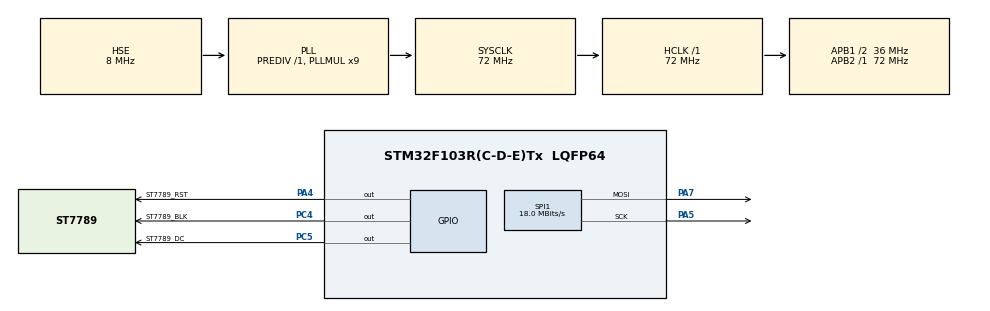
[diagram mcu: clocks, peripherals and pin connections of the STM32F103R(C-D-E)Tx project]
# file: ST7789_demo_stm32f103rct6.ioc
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Mcu.Family=STM32F1
Mcu.Name=STM32F103R(C-D-E)Tx
Mcu.Package=LQFP64
NVIC.PriorityGroup=NVIC_PRIORITYGROUP_4
PA13.Mode=Serial_Wire
PA13.Signal=SYS_JTMS-SWDIO
PA14.Mode=Serial_Wire
PA14.Signal=SYS_JTCK-SWCLK
PA4.GPIO_Label=ST7789_RST
PA4.GPIO_PuPd=GPIO_NOPULL
PA4.PinState=GPIO_PIN_SET
PA4.Signal=GPIO_Output
PA5.Mode=TX_Only_Simplex_Unidirect_Master
PA5.Signal=SPI1_SCK
PA7.Mode=TX_Only_Simplex_Unidirect_Master
PA7.Signal=SPI1_MOSI
PC4.GPIO_Label=ST7789_BLK
PC4.PinState=GPIO_PIN_SET
PC4.Signal=GPIO_Output
PC5.GPIO_Label=ST7789_DC
PC5.PinState=GPIO_PIN_SET
PC5.Signal=GPIO_Output
PD0-OSC_IN.Mode=HSE-External-Oscillator
PD0-OSC_IN.Signal=RCC_OSC_IN
PD1-OSC_OUT.Mode=HSE-External-Oscillator
PD1-OSC_OUT.Signal=RCC_OSC_OUT
ProjectManager.HeapSize=0x200
ProjectManager.StackSize=0x400
ProjectManager.TargetToolchain=MDK-ARM V5
RCC.AHBFreq_Value=72000000
RCC.APB1CLKDivider=RCC_HCLK_DIV2
RCC.APB1Freq_Value=36000000
RCC.APB1TimFreq_Value=72000000
RCC.APB2Freq_Value=72000000
RCC.APB2TimFreq_Value=72000000
RCC.HCLKFreq_Value=72000000
RCC.PLLMUL=RCC_PLL_MUL9
RCC.PLLSourceVirtual=RCC_PLLSOURCE_HSE
RCC.SYSCLKFreq_VALUE=72000000
RCC.SYSCLKSource=RCC_SYSCLKSOURCE_PLLCLK
RCC.USBFreq_Value=72000000
SPI1.BaudRatePrescaler=SPI_BAUDRATEPRESCALER_4
SPI1.CLKPhase=SPI_PHASE_1EDGE
SPI1.CLKPolarity=SPI_POLARITY_LOW
SPI1.CalculateBaudRate=18.0 MBits/s
SPI1.Direction=SPI_DIRECTION_2LINES
SPI1.Mode=SPI_MODE_MASTER
SPI1.VirtualType=VM_MASTER
board=custom

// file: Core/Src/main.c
/* USER CODE BEGIN Header */
/**
  ******************************************************************************
  * @file           : main.c
  * @brief          : Main program body
  ******************************************************************************
  * @attention
  *
  * <h2><center>&copy; Copyright (c) 2020 STMicroelectronics.
  * All rights reserved.</center></h2>
  *
  * This software component is licensed by ST under BSD 3-Clause license,
  * the "License"; You may not use this file except in compliance with the
  * License. You may obtain a copy of the License at:
  *                        opensource.org/licenses/BSD-3-Clause
  *
  ******************************************************************************
  */
/* USER CODE END Header */
#include "main.h"
#include "spi.h"
#include "gpio.h"

/* USER CODE BEGIN Includes */
#include "st7789.h"
#include "testimg.h"
#include "ugui.h"
/* USER CODE END Includes */

/* USER CODE BEGIN PV */
extern void uGUI_Test_Init(void);
extern void uGUI_Test_Poll(void);
/* USER CODE END PV */

void SystemClock_Config(void);

/* USER CODE BEGIN 0 */

void loop() {
    // Check border
    ST7789_Fill_Color(BLACK);

    for(int x = 0; x < ST7789_WIDTH; x++) {
        ST7789_DrawPixel(x, 0, RED);
        ST7789_DrawPixel(x, ST7789_HEIGHT-1, RED);
    }

    for(int y = 0; y < ST7789_HEIGHT; y++) {
        ST7789_DrawPixel(0, y, RED);
        ST7789_DrawPixel(ST7789_WIDTH-1, y, RED);
    }

    HAL_Delay(3000);

    // Check fonts
    ST7789_Fill_Color(BLACK);
    ST7789_WriteString(0, 0, "Font_7x10, red on black, lorem ipsum dolor sit amet", Font_7x10, RED, BLACK);
    ST7789_WriteString(0, 3*10, "Font_11x18, green, lorem ipsum", Font_11x18, GREEN, BLACK);
    ST7789_WriteString(0, 3*10+3*18, "Font_16x26, blue, hello world.", Font_16x26, BLUE, BLACK);
    HAL_Delay(2000);

    // Check colors
    ST7789_Fill_Color(BLACK);
    ST7789_WriteString(0, 0, "BLACK", Font_11x18, WHITE, BLACK);
    HAL_Delay(500);

    ST7789_Fill_Color(BLUE);
    ST7789_WriteString(0, 0, "BLUE", Font_11x18, BLACK, BLUE);
    HAL_Delay(500);

    ST7789_Fill_Color(RED);
    ST7789_WriteString(0, 0, "RED", Font_11x18, BLACK, RED);
    HAL_Delay(500);

    ST7789_Fill_Color(GREEN);
    ST7789_WriteString(0, 0, "GREEN", Font_11x18, BLACK, GREEN);
    HAL_Delay(500);

    ST7789_Fill_Color(CYAN);
    ST7789_WriteString(0, 0, "CYAN", Font_11x18, BLACK, CYAN);
    HAL_Delay(500);

    ST7789_Fill_Color(MAGENTA);
    ST7789_WriteString(0, 0, "MAGENTA", Font_11x18, BLACK, MAGENTA);
    HAL_Delay(500);

    ST7789_Fill_Color(YELLOW);
    ST7789_WriteString(0, 0, "YELLOW", Font_11x18, BLACK, YELLOW);
    HAL_Delay(500);

    ST7789_Fill_Color(WHITE);
    ST7789_WriteString(0, 0, "WHITE", Font_11x18, BLACK, WHITE);
    HAL_Delay(500);

    // Display test image 128x128
    ST7789_DrawImage(0, 0, 128, 128, (uint16_t*)parrot_128x128);

	HAL_Delay(2000);

	ST7789_Fill_Color(BLACK);
}

/* USER CODE END 0 */

int main(void)
{

  /* MCU Configuration--------------------------------------------------------*/

  /* Reset of all peripherals, Initializes the Flash interface and the Systick. */
  HAL_Init();

  /* Configure the system clock */
  SystemClock_Config();

  /* Initialize all configured peripherals */
  MX_GPIO_Init();
  MX_SPI1_Init();
  /* USER CODE BEGIN 2 */
	ST7789_Init();
	uGUI_Test_Init();
  /* USER CODE END 2 */

  /* Infinite loop */
  /* USER CODE BEGIN WHILE */
  while (1)
  {
	  uGUI_Test_Poll();
	  ST7789_Test();
	  loop();
    /* USER CODE END WHILE */

  }
}

void SystemClock_Config(void)
{
  RCC_OscInitTypeDef RCC_OscInitStruct = {0};
  RCC_ClkInitTypeDef RCC_ClkInitStruct = {0};

  /** Initializes the RCC Oscillators according to the specified parameters
  * in the RCC_OscInitTypeDef structure.
  */
  RCC_OscInitStruct.OscillatorType = RCC_OSCILLATORTYPE_HSE;
  RCC_OscInitStruct.HSEState = RCC_HSE_ON;
  RCC_OscInitStruct.HSEPredivValue = RCC_HSE_PREDIV_DIV1;
  RCC_OscInitStruct.HSIState = RCC_HSI_ON;
  RCC_OscInitStruct.PLL.PLLState = RCC_PLL_ON;
  RCC_OscInitStruct.PLL.PLLSource = RCC_PLLSOURCE_HSE;
  RCC_OscInitStruct.PLL.PLLMUL = RCC_PLL_MUL9;
  if (HAL_RCC_OscConfig(&RCC_OscInitStruct) != HAL_OK)
  {
    Error_Handler();
  }
  /** Initializes the CPU, AHB and APB buses clocks
  */
  RCC_ClkInitStruct.ClockType = RCC_CLOCKTYPE_HCLK|RCC_CLOCKTYPE_SYSCLK
                              |RCC_CLOCKTYPE_PCLK1|RCC_CLOCKTYPE_PCLK2;
  RCC_ClkInitStruct.SYSCLKSource = RCC_SYSCLKSOURCE_PLLCLK;
  RCC_ClkInitStruct.AHBCLKDivider = RCC_SYSCLK_DIV1;
  RCC_ClkInitStruct.APB1CLKDivider = RCC_HCLK_DIV2;
  RCC_ClkInitStruct.APB2CLKDivider = RCC_HCLK_DIV1;

  if (HAL_RCC_ClockConfig(&RCC_ClkInitStruct, FLASH_LATENCY_2) != HAL_OK)
  {
    Error_Handler();
  }
}

void Error_Handler(void)
{
}

/************************ (C) COPYRIGHT STMicroelectronics *****END OF FILE****/
